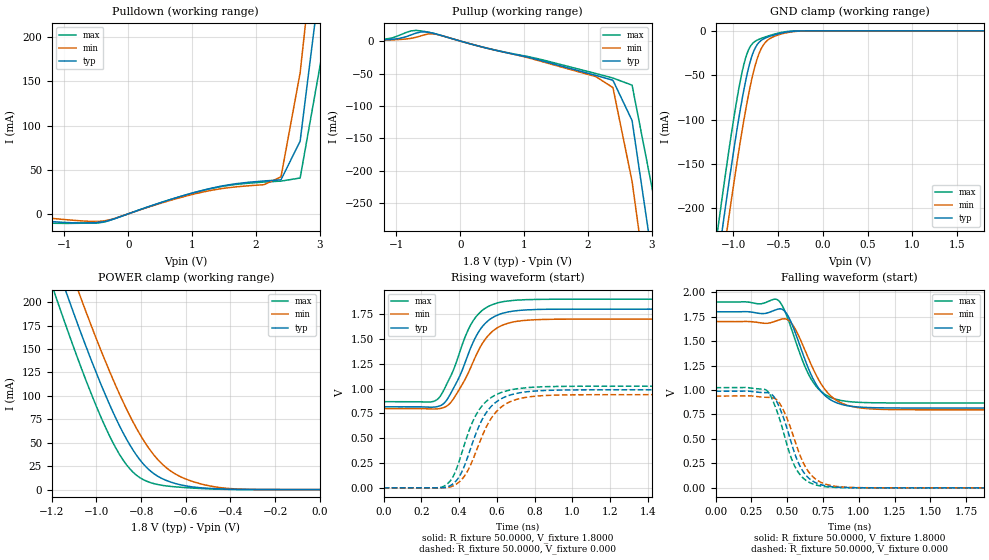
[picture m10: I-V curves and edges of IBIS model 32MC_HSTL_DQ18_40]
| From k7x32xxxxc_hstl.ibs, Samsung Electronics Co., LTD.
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|   Model 32MC_HSTL_DQ18_40
[Model]   32MC_HSTL_DQ18_40
Model_type   I/O
Polarity   Non-Inverting
Enable   Active-High
Vinl = 0.7000V
Vinh = 1.1000V
Vmeas = 0.9000V
Cref =  0.000F
Rref =50.0000
Vref = 0.9000V
C_comp   0.8590pF   0.8410pF   0.8720pF
[Model Spec]
|   Typ   Min   Max
Vinl 0.70   0.65   0.75 |VREF - 0.2V AC spec for timing simulation
Vinh 1.10   1.05   1.15 |VREF + 0.2V AC spec for timing simulation
|[Model Spec]
|   Typ   Min   Max
|Vinl 0.80   0.75   0.85 |VREF - 0.1V DC spec for noise measurement
|Vinh 1.00   0.95   1.05 |VREF + 0.1V DC spec for noise measurement
Vmeas  0.9000V   0.8500V   0.9500V |VDDQ/2
[Temperature Range]   55.0000   0.1100k   0.000
[Voltage Range]   1.8000V   1.7000V   1.9000V
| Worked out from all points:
|   slope of the pulldown table from 0 to 0.27 V, typ, clamps not added: 39.1 ohm
|   slope of the pullup table from 0 to 0.27 V, typ, clamps not added: 36.8 ohm
|   GND clamp passes 1 mA (typ) near -0.38 V on its own axis
|   POWER clamp passes 1 mA (typ) near -0.47 V on its own axis
|   rising waveform, R_fixture 50.0000, V_fixture 1.8000: 20-80 % time 142ps typ, 152ps min, 136ps max; typ from 0.816 V to 1.8 V
|   rising waveform, R_fixture 50.0000, V_fixture 0.000: 20-80 % time 134ps typ, 140ps min, 130ps max; typ from 0 V to 0.988 V
|   falling waveform, R_fixture 50.0000, V_fixture 1.8000: 20-80 % time 170ps typ, 188ps min, 170ps max; typ from 1.8 V to 0.816 V
|   falling waveform, R_fixture 50.0000, V_fixture 0.000: 20-80 % time 143ps typ, 152ps min, 139ps max; typ from 0.988 V to 0 V
[Pulldown]
| voltage   I(typ)   I(min/slow/weak)   I(max/fast/strong)
-1.8V     -5.4mA     -2.1mA     -7.6mA
-856mV    -10.25mA   -7.34mA    -10.79mA
-559mV    -10.16mA   -8.624mA   -10.62mA
-364mV    -8.665mA   -7.801mA   -8.993mA
576mV     14.29mA    13.46mA    14.23mA
1.175V    26.86mA    24.77mA    26.57mA
1.676V    34.02mA    30.47mA    33.21mA
2.124V    37.2mA     32.98mA    35.96mA
2.391V    38.56mA    41.85mA    37.07mA
2.691V    82.25mA    159.8mA    40.56mA
3.029V    278.8mA    385mA      178.5mA
3.6V      704.7mA    814.6mA    595.1mA
[Pullup]
| voltage   I(typ)   I(min/slow/weak)   I(max/fast/strong)
-1.8V     800uA      700uA      900uA
-1.059V   2.7mA      1.8mA      5mA
-770mV    9.47mA     4.18mA     15.63mA
-622mV    13.89mA    7.8mA      15.68mA
-502mV    13.51mA    10.85mA    13.68mA
-327mV    9.471mA    9.31mA     9.321mA
358mV     -9.572mA   -9.571mA   -9.378mA
2.124V    -52.87mA   -54.77mA   -49.99mA
2.391V    -60.38mA   -71.64mA   -56.94mA
2.691V    -122.4mA   -216mA     -67.93mA
3.029V    -348.1mA   -458.3mA   -238.9mA
3.6V      -794.3mA   -908.9mA   -680.6mA
[GND_clamp]
| voltage   I(typ)   I(min/slow/weak)   I(max/fast/strong)
-1.8V     -752.4mA   -787mA     -719.7mA
-1.171V   -257.8mA   -296.3mA   -220.7mA
-1.128V   -226.3mA   -264.8mA   -189.2mA
-1.107V   -211.1mA   -249.6mA   -174mA
-1.066V   -181.9mA   -220.4mA   -145.1mA
-970mV    -117.3mA   -154.8mA   -82.45mA
-900mV    -75.38mA   -110.6mA   -45.01mA
-834mV    -43.05mA   -73.43mA   -22.04mA
-744mV    -17.03mA   -34.53mA   -11.03mA
-614mV    -6.926mA   -10.29mA   -5.892mA
-342mV    -623.3uA   -1.089mA   -287.3uA
1.8V      211.5nA    3.565uA    15nA
[POWER_clamp]
| voltage   I(typ)   I(min/slow/weak)   I(max/fast/strong)
-1.8V     703.3mA    736.2mA    671.9mA
-1.186V   245.2mA    282.1mA    208.9mA
-1.125V   203.7mA    240.8mA    167.2mA
-1.068V   166.3mA    203.4mA    129.9mA
-961mV    101.7mA    137.6mA    67.31mA
-912mV    75.62mA    110mA      43.88mA
-865mV    53.72mA    85.8mA     26.38mA
-778mV    24.27mA    48.5mA     9.249mA
-687mV    9.748mA    23.31mA    3.938mA
-596mV    3.825mA    10.91mA    2.045mA
-455mV    846.1uA    2.416mA    438.3uA
0V        211.5nA    954nA      17.71nA
[Ramp]
| variable   typ   min(slow/weak)   max(fast/strong)
dV/dt_r   0.5925/0.1336n   0.5631/0.1400n   0.6144/0.1303n
dV/dt_f   0.5905/0.1702n   0.5415/0.1883n   0.6194/0.1701n
R_load = 50.0000
[Rising Waveform]
R_fixture = 50.0000
V_fixture = 1.8000
V_fixture_min = 1.7000
V_fixture_max = 1.9000
L_fixture = 0.000H
C_fixture = 0.000F
| time   V(typ)   V(min)   V(max)
0s        815.8mV    797.5mV    867.6mV
257ps     812.3mV    794mV      867.3mV
316ps     845mV      806.9mV    973.4mV
371ps     1.005V     898.6mV    1.191V
436ps     1.282V     1.107V     1.538V
476ps     1.472V     1.274V     1.686V
549ps     1.674V     1.521V     1.82V
642ps     1.763V     1.646V     1.877V
977ps     1.799V     1.699V     1.899V
3.999ns   1.8V       1.7V       1.9V
[Rising Waveform]
R_fixture = 50.0000
V_fixture = 0.000
V_fixture_min = 0.000
V_fixture_max = 0.000
L_fixture = 0.000H
C_fixture = 0.000F
| time   V(typ)   V(min)   V(max)
0s        3.486uV    23.7uV     0V
296ps     807.5uV    692uV      2.839mV
364ps     35.06mV    16.5mV     99.94mV
399ps     107mV      57.12mV    259.8mV
435ps     254.6mV    137.1mV    475.9mV
513ps     652.6mV    477.6mV    803.7mV
597ps     864.9mV    765.8mV    938.4mV
711ps     953.3mV    893.6mV    998.6mV
1.015ns   986.1mV    936.8mV    1.023V
3.999ns   987.5mV    938.5mV    1.024V
[Falling Waveform]
R_fixture = 50.0000
V_fixture = 1.8000
V_fixture_min = 1.7000
V_fixture_max = 1.9000
L_fixture = 0.000H
C_fixture = 0.000F
| time   V(typ)   V(min)   V(max)
0s        1.8V       1.7V       1.9V
314ps     1.782V     1.687V     1.881V
423ps     1.821V     1.706V     1.928V
476ps     1.815V     1.728V     1.832V
557ps     1.583V     1.621V     1.506V
676ps     1.128V     1.232V     1.091V
773ps     931.6mV    988.3mV    947.3mV
884ps     851.3mV    863.6mV    891.3mV
1.246ns   816.6mV    799.6mV    868.1mV
3.999ns   815.8mV    797.5mV    867.6mV
[Falling Waveform]
R_fixture = 50.0000
V_fixture = 0.000
V_fixture_min = 0.000
V_fixture_max = 0.000
L_fixture = 0.000H
C_fixture = 0.000F
| time   V(typ)   V(min)   V(max)
0s        987.5mV    938.5mV    1.024V
336ps     974.1mV    926.8mV    1.009V
395ps     951.6mV    922.2mV    907.8mV
463ps     760.5mV    824.9mV    626.3mV
517ps     518.4mV    639.7mV    352.1mV
559ps     324.8mV    458.6mV    203.9mV
643ps     109.8mV    177.6mV    65.06mV
738ps     31.34mV    54.85mV    17.78mV
1.039ns   541.1uV    1.39mV     196.6uV
3.999ns   1.05uV     20.96uV    -1.877uV
